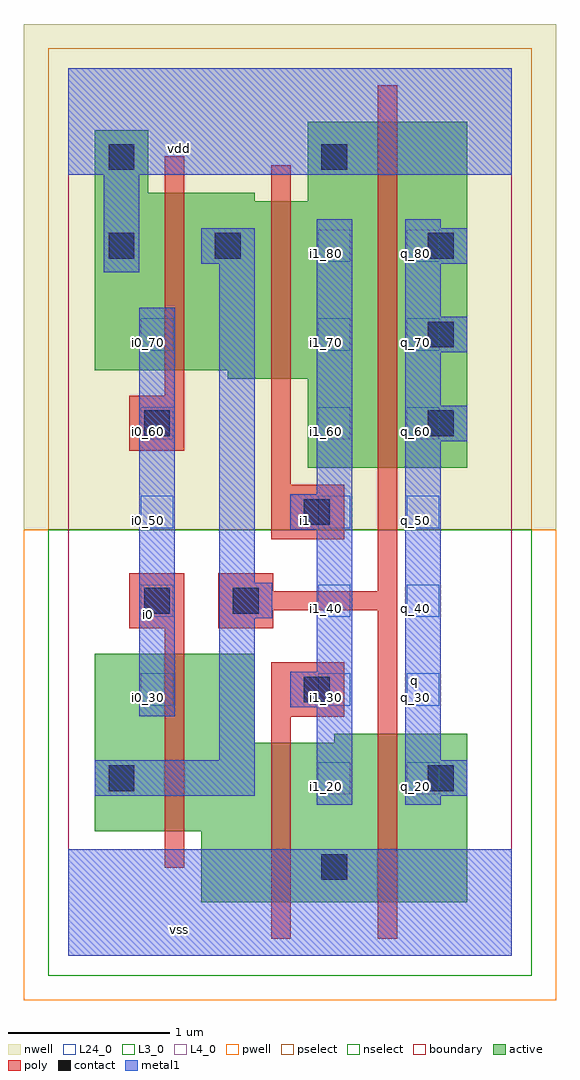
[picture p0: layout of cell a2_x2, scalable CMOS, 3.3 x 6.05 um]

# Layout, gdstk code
import gdstk
lib = gdstk.Library(unit=1e-6, precision=2.5e-09)
def R(c, l, rs):  # rectangles x0, y0, x1, y1
    for r in rs: c.add(gdstk.rectangle(r[:2], r[2:], *l))
def A(c, l, x, y, w, h, nx, ny, dx, dy):  # array of equal rectangles
    R(c, l, [(x+i*dx, y+j*dy, x+i*dx+w, y+j*dy+h) for i in range(nx) for j in range(ny)])
L3_0 = (3, 0)
L4_0 = (4, 0)
L24_0 = (24, 0)
contact = (25, 0)
pwell = (41, 0)
nwell = (42, 0)
active = (43, 0)
pselect = (44, 0)
nselect = (45, 0)
poly = (46, 0)
metal1 = (49, 0)
boundary = (63, 0)

a2_x2 = lib.new_cell('a2_x2')
R(a2_x2, L3_0, [(0.825,0.33,2.475,0.77), (0.165,0.77,2.475,1.32), (0.165,1.32,1.155,1.87), (1.65,1.32,2.475,1.375)])
R(a2_x2, L4_0, [(1.485,3.025,2.475,3.575), (0.99,3.575,2.475,3.63), (0.165,3.63,2.475,4.675), (0.165,4.675,1.155,4.73), (1.485,4.675,2.475,5.17), (0.165,4.73,0.495,5.115)])
A(a2_x2, L24_0, 1.55, 1, 0.2, 0.2, 1, 7, 0, 0.55)
A(a2_x2, L24_0, 2.1, 1, 0.2, 0.2, 1, 7, 0, 0.55)
A(a2_x2, L24_0, 0.45, 1.55, 0.2, 0.2, 1, 5, 0, 0.55)
A(a2_x2, contact, 2.23, 3.22, 0.16, 0.16, 1, 3, 0, 0.55)
R(a2_x2, contact, [(1.57,0.47,1.73,0.63), (0.25,1.02,0.41,1.18), (2.23,1.02,2.39,1.18), (1.46,1.57,1.62,1.73), (0.47,2.12,0.63,2.28), (1.02,2.12,1.18,2.28), (1.46,2.67,1.62,2.83), (0.47,3.22,0.63,3.38), (0.25,4.32,0.41,4.48), (0.91,4.32,1.07,4.48), (0.25,4.87,0.41,5.03), (1.57,4.87,1.73,5.03)])
R(a2_x2, pwell, [(-0.275,-0.275,3.025,2.64)])
R(a2_x2, nwell, [(-0.275,2.64,3.025,5.775)])
R(a2_x2, active, [(0.825,0.33,2.475,0.77), (0.165,0.77,2.475,1.32), (0.165,1.32,1.155,1.87), (1.65,1.32,2.475,1.375), (1.485,3.025,2.475,3.575), (0.99,3.575,2.475,3.63), (0.165,3.63,2.475,4.675), (0.165,4.675,1.155,4.73), (1.485,4.675,2.475,5.17), (0.165,4.73,0.495,5.115)])
R(a2_x2, pselect, [(-0.125,2.64,2.875,5.625)])
R(a2_x2, nselect, [(-0.125,-0.125,2.875,2.64)])
R(a2_x2, poly, [(1.26,0.105,1.38,1.48), (1.92,0.105,2.04,2.14), (0.6,0.545,0.72,2.03), (1.26,1.48,1.71,1.82), (0.38,2.03,0.72,2.37), (0.93,2.03,1.27,2.14), (0.93,2.14,2.04,2.26), (0.93,2.26,1.27,2.37), (1.92,2.26,2.04,5.395), (1.26,2.58,1.71,2.92), (1.26,2.92,1.38,4.9), (0.38,3.13,0.72,3.47), (0.6,3.47,0.72,4.955)])
A(a2_x2, metal1, 2.09, 3.19, 0.385, 0.22, 1, 3, 0, 0.55)
R(a2_x2, metal1, [(0,0,2.75,0.66), (1.54,0.935,1.76,1.54), (2.09,0.935,2.31,0.99), (0.165,0.99,1.155,1.21), (2.09,0.99,2.475,1.21), (0.935,1.21,1.155,2.09), (2.09,1.21,2.31,3.19), (0.44,1.485,0.66,4.015), (1.375,1.54,1.76,1.76), (1.54,1.76,1.76,2.64), (0.935,2.09,1.265,2.31), (0.935,2.31,1.155,4.29), (1.375,2.64,1.76,2.86), (1.54,2.86,1.76,4.565), (2.09,3.41,2.31,3.74), (2.09,3.96,2.31,4.29), (0.22,4.235,0.44,4.84), (0.825,4.29,1.155,4.51), (2.09,4.51,2.31,4.565), (0,4.84,2.75,5.5)])
R(a2_x2, boundary, [(0,0,2.75,5.5)])
a2_x2.add(gdstk.Label('vss', (0.6875,0.165), layer=49, texttype=0))
a2_x2.add(gdstk.Label('q', (2.145,1.705), layer=49, texttype=0))
a2_x2.add(gdstk.Label('i1', (1.47,2.695), layer=49, texttype=0))
a2_x2.add(gdstk.Label('i0', (0.495,2.1175), layer=49, texttype=0))
a2_x2.add(gdstk.Label('vdd', (0.6875,5.005), layer=49, texttype=0))
a2_x2.add(gdstk.Label('i1_80', (1.6,4.35), layer=24, texttype=0))
a2_x2.add(gdstk.Label('i1_70', (1.6,3.8), layer=24, texttype=0))
a2_x2.add(gdstk.Label('i1_60', (1.6,3.25), layer=24, texttype=0))
a2_x2.add(gdstk.Label('i1_50', (1.6,2.7), layer=24, texttype=0))
a2_x2.add(gdstk.Label('i1_40', (1.6,2.15), layer=24, texttype=0))
a2_x2.add(gdstk.Label('i1_30', (1.6,1.6), layer=24, texttype=0))
a2_x2.add(gdstk.Label('i1_20', (1.6,1.05), layer=24, texttype=0))
a2_x2.add(gdstk.Label('i0_30', (0.5,1.6), layer=24, texttype=0))
a2_x2.add(gdstk.Label('i0_40', (0.5,2.15), layer=24, texttype=0))
a2_x2.add(gdstk.Label('i0_50', (0.5,2.7), layer=24, texttype=0))
a2_x2.add(gdstk.Label('i0_60', (0.5,3.25), layer=24, texttype=0))
a2_x2.add(gdstk.Label('i0_70', (0.5,3.8), layer=24, texttype=0))
a2_x2.add(gdstk.Label('q_50', (2.15,2.7), layer=24, texttype=0))
a2_x2.add(gdstk.Label('q_60', (2.15,3.25), layer=24, texttype=0))
a2_x2.add(gdstk.Label('q_70', (2.15,3.8), layer=24, texttype=0))
a2_x2.add(gdstk.Label('q_80', (2.15,4.35), layer=24, texttype=0))
a2_x2.add(gdstk.Label('q_20', (2.15,1.05), layer=24, texttype=0))
a2_x2.add(gdstk.Label('q_30', (2.15,1.6), layer=24, texttype=0))
a2_x2.add(gdstk.Label('q_40', (2.15,2.15), layer=24, texttype=0))

lib.write_gds('a2_x2.gds')
